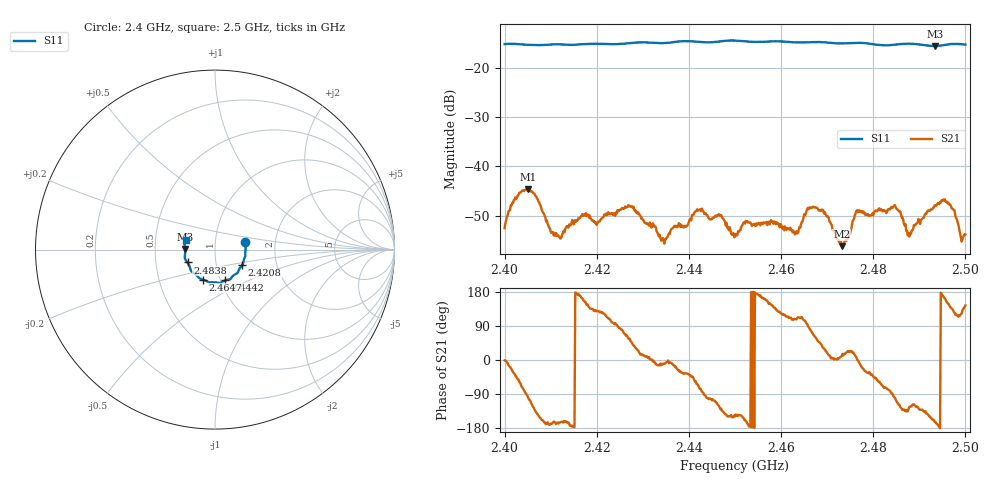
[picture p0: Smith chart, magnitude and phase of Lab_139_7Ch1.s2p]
# Hz S RI R 50
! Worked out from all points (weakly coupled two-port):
!   601 points, 2.4 GHz to 2.5 GHz, reference 50 ohm
!   highest |S21| = -44.67 dB at 2.4052 GHz (marker M1); lowest = -56.2 dB at 2.4732 GHz (marker M2)
!   lowest |S11| = -15.6 dB at 2.4935 GHz (marker M3), VSWR 1.40, Z = 35.8 + j0.209 ohm
!   |S11| at or under -10 dB: start of sweep to end of sweep
!   S12 and S22 are empty: the file has one direction only
!   S11 on the Smith chart (normalised r, x): 2.4 GHz: 1.40, +0.12; 2.4208 GHz: 1.33, -0.24; 2.4442 GHz: 1.05, -0.37; 2.4647 GHz: 0.83, -0.29; 2.4838 GHz: 0.73, -0.11; 2.5 GHz: 0.72, +0.08
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2.4e9  0.168 0.0406  0.00235 -5.01e-05  0 0  0 0
2.401833e9  0.1716 0.0316  0.0036 -0.00224  0 0  0 0
2.405167e9  0.17 0.0078  -0.00112 -0.00574  0 0  0 0
2.411833e9  0.1679 -0.0377  -0.00187 -0.000484  0 0  0 0
2.416667e9  0.1586 -0.0682  -0.00299 0.00084  0 0  0 0
2.420833e9  0.1509 -0.0873  -0.00176 0.00229  0 0  0 0
2.427333e9  0.1297 -0.121  0.00251 0.00297  0 0  0 0
2.433333e9  0.1081 -0.1401  0.00196 -0.000487  0 0  0 0
2.444167e9  0.0568 -0.1711  -0.000596 -0.00299  0 0  0 0
2.45e9  0.0244 -0.1866  -0.00165 -0.00101  0 0  0 0
2.452333e9  0.0136 -0.1844  -0.00265 -0.000889  0 0  0 0
2.463167e9  -0.0554 -0.1714  -0.000645 0.00197  0 0  0 0
2.464667e9  -0.0672 -0.1667  -0.000873 0.00261  0 0  0 0
2.466667e9  -0.0803 -0.1624  0.00105 0.00369  0 0  0 0
2.473167e9  -0.1092 -0.1381  0.00152 0.00029  0 0  0 0
2.4765e9  -0.1302 -0.1218  0.00357 2.77e-05  0 0  0 0
2.483333e9  -0.1503 -0.0761  0.000739 -0.00361  0 0  0 0
2.483833e9  -0.1529 -0.0719  0.000273 -0.00381  0 0  0 0
2.487667e9  -0.1678 -0.0491  -0.00132 -0.00164  0 0  0 0
2.4935e9  -0.1656 0.00284  -0.00384 -0.00113  0 0  0 0
2.496333e9  -0.17 0.0283  -0.0036 0.00228  0 0  0 0
2.5e9  -0.1628 0.0527  -0.00164 0.00119  0 0  0 0
